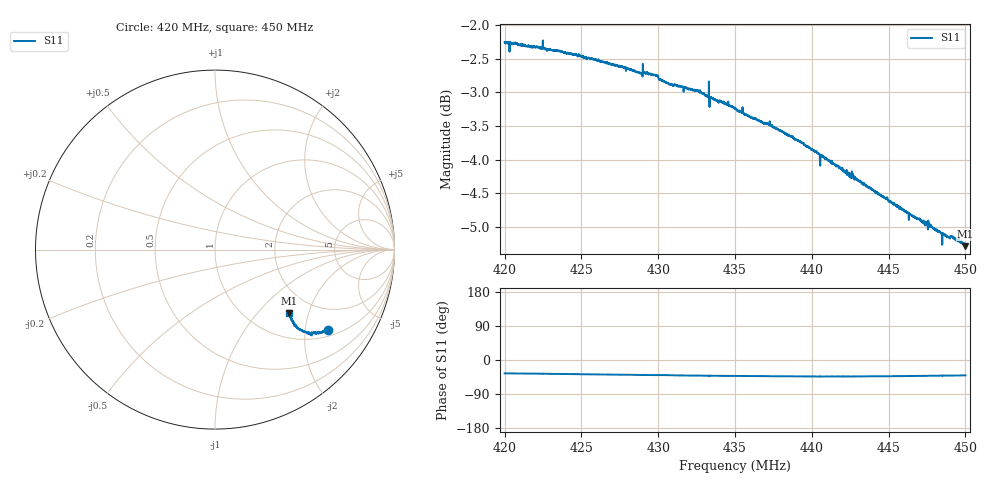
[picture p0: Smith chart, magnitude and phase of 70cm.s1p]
! Calibrated averaged scanner-service zoom
# Hz S RI R 50
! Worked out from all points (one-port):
!   3001 points, 420 MHz to 450 MHz, reference 50 ohm
!   lowest |S11| = -5.3 dB at 450 MHz (marker M1), VSWR 3.39, Z = 75.2 - j75.5 ohm
!   |S11| at or under -10 dB: nowhere
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4.2e8  0.6299 -0.4454
4.2245e8  0.6148 -0.4525
4.2375e8  0.6062 -0.456
4.275e8  0.5773 -0.4635
4.2884e8  0.5648 -0.4649
4.2914e8  0.5641 -0.4673
4.2987e8  0.5594 -0.4666
4.3017e8  0.5571 -0.4627
4.3085e8  0.5488 -0.4625
4.3125e8  0.544 -0.466
4.326e8  0.5346 -0.467
4.3316e8  0.5265 -0.4666
4.3346e8  0.5243 -0.4663
4.3416e8  0.5199 -0.4626
4.35e8  0.5127 -0.461
4.3659e8  0.4959 -0.4571
4.3716e8  0.4919 -0.456
4.3875e8  0.4786 -0.4486
4.3988e8  0.4678 -0.4419
4.4051e8  0.4629 -0.4374
4.4081e8  0.4604 -0.4353
4.425e8  0.4466 -0.423
4.4625e8  0.4262 -0.3878
4.4836e8  0.4188 -0.3678
4.4885e8  0.4165 -0.3639
4.4916e8  0.4176 -0.3632
4.4999e8  0.4141 -0.3531
4.5e8  0.4148 -0.354
